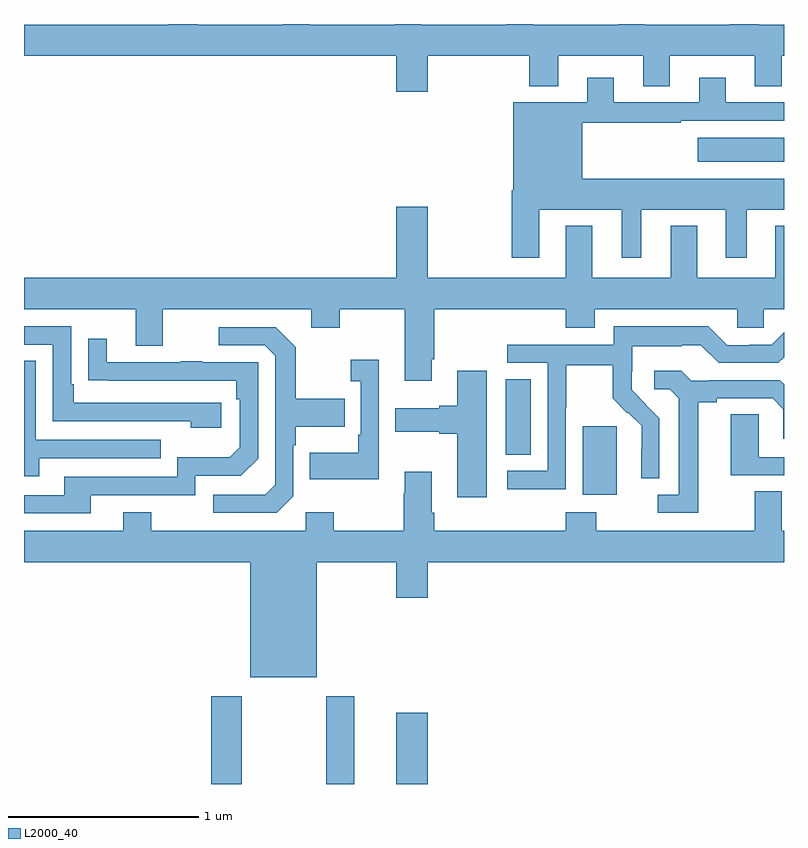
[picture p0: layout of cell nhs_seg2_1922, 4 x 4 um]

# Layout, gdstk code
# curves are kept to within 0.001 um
import gdstk
lib = gdstk.Library(unit=1e-6, precision=1e-09)
def R(c, l, rs):  # rectangles x0, y0, x1, y1
    for r in rs: c.add(gdstk.rectangle(r[:2], r[2:], *l))
def P(c, l, *ps):  # polygons
    for p in ps: c.add(gdstk.Polygon(p, *l))
L2000_40 = (2000, 40)

nhs_seg2_1922 = lib.new_cell('nhs_seg2_1922')
R(nhs_seg2_1922, L2000_40, [(211.985,647.8,212.145,648.262), (212.59,647.8,212.737,648.262), (212.96,647.8,213.124,648.175), (213.941,649.322,214.12,649.683), (213.536,649.534,213.667,649.931), (214.545,651.074,215,651.202)])
P(nhs_seg2_1922, L2000_40, [(213.124,651.632),(213.659,651.632),(213.659,651.473),(213.811,651.473),(213.811,651.632),(214.259,651.632),(214.259,651.472),(214.399,651.472),(214.399,651.632),(214.847,651.632),(214.847,651.472),(214.987,651.472),(214.987,651.632),(215,651.632),(215,651.796),(214.868,651.796),(214.868,651.8),(214.715,651.8),(214.715,651.796),(214.267,651.796),(214.267,651.8),(214.127,651.8),(214.127,651.796),(213.679,651.796),(213.679,651.8),(213.539,651.8),(213.539,651.796),(213.091,651.796),(213.091,651.8),(212.951,651.8),(212.951,651.796),(212.503,651.796),(212.503,651.8),(212.363,651.8),(212.363,651.796),(211.915,651.796),(211.915,651.8),(211.763,651.8),(211.763,651.796),(211,651.796),(211,651.632),(212.96,651.632),(212.96,651.444),(213.124,651.444)],
  [(213.712,650.822),(214.145,650.822),(214.145,650.571),(214.249,650.571),(214.249,650.822),(214.694,650.822),(214.694,650.571),(214.804,650.571),(214.804,650.822),(215,650.822),(215,650.986),(213.937,650.986),(213.937,651.279),(214.457,651.279),(214.457,651.291),(215,651.291),(215,651.387),(214.693,651.387),(214.693,651.517),(214.553,651.517),(214.553,651.387),(214.105,651.387),(214.105,651.517),(213.965,651.517),(213.965,651.388),(213.575,651.388),(213.575,650.926),(213.568,650.926),(213.568,650.571),(213.712,650.571)],
  [(213.145,650.035),(213.158,650.035),(213.158,650.3),(213.851,650.3),(213.851,650.201),(214.003,650.201),(214.003,650.3),(214.755,650.3),(214.755,650.202),(214.893,650.202),(214.893,650.3),(215,650.3),(215,650.737),(214.955,650.737),(214.955,650.464),(214.543,650.464),(214.543,650.737),(214.403,650.737),(214.403,650.464),(213.991,650.464),(213.991,650.737),(213.851,650.737),(213.851,650.464),(213.124,650.464),(213.124,650.839),(212.96,650.839),(212.96,650.464),(211,650.464),(211,650.3),(211.589,650.3),(211.589,650.106),(211.729,650.106),(211.729,650.3),(212.513,650.3),(212.513,650.201),(212.661,650.201),(212.661,650.3),(213.005,650.3),(213.005,649.923),(213.145,649.923)],
  [(213.852,649.78),(213.855,649.78),(213.855,650.004),(214.099,650.004),(214.099,649.829),(214.176,649.752),(214.179,649.755),(214.25,649.685),(214.25,649.562),(214.248,649.562),(214.248,649.408),(214.344,649.408),(214.344,649.726),(214.198,649.874),(214.198,649.971),(214.2,649.971),(214.2,650.105),(214.463,650.105),(214.463,650.109),(214.563,650.109),(214.656,650.016),(214.971,650.016),(215,650.045),(215,650.177),(214.935,650.112),(214.817,650.112),(214.817,650.109),(214.701,650.109),(214.601,650.209),(214.104,650.209),(214.104,650.112),(213.543,650.112),(213.543,650.016),(213.756,650.016),(213.756,649.449),(213.543,649.449),(213.543,649.351),(213.852,649.351)],
  [(212.038,649.806),(211.261,649.806),(211.261,649.903),(211.248,649.903),(211.248,650.208),(211,650.208),(211,650.112),(211.152,650.112),(211.152,649.71),(211.877,649.71),(211.877,649.676),(212.038,649.676)],
  [(212.418,649.314),(212.418,649.583),(212.431,649.583),(212.431,649.679),(212.687,649.679),(212.687,649.827),(212.431,649.827),(212.431,650.099),(212.325,650.205),(212.025,650.205),(212.025,650.109),(212.268,650.109),(212.322,650.055),(212.322,649.374),(212.271,649.323),(211.995,649.323),(211.995,649.227),(212.331,649.227)],
  [(211.351,649.32),(211.902,649.32),(211.902,649.422),(212.142,649.422),(212.232,649.512),(212.232,650.019),(211.937,650.019),(211.937,650.024),(211.825,650.024),(211.825,650.019),(211.435,650.019),(211.435,650.143),(211.339,650.143),(211.339,649.924),(212.116,649.923),(212.116,649.826),(212.136,649.826),(212.136,649.572),(212.083,649.519),(211.806,649.519),(211.806,649.416),(211.211,649.416),(211.211,649.32),(211,649.32),(211,649.224),(211.351,649.224)],
  [(212.868,650.032),(212.721,650.032),(212.721,649.919),(212.772,649.919),(212.772,649.639),(212.76,649.639),(212.76,649.543),(212.503,649.543),(212.503,649.403),(212.868,649.403)],
  [(211.081,649.515),(211.721,649.515),(211.721,649.611),(211.062,649.611),(211.062,650.027),(211,650.027),(211,649.421),(211.081,649.421)],
  [(213.436,649.975),(213.281,649.975),(213.281,649.79),(213.185,649.79),(213.185,649.777),(212.955,649.777),(212.955,649.655),(213.185,649.655),(213.185,649.643),(213.281,649.643),(213.281,649.308),(213.436,649.308)],
  [(214.549,649.808),(214.645,649.808),(214.645,649.83),(214.94,649.83),(214.997,649.773),(214.997,649.617),(215,649.617),(215,649.904),(214.978,649.926),(214.606,649.926),(214.606,649.923),(214.512,649.923),(214.46,649.975),(214.317,649.975),(214.317,649.878),(214.398,649.878),(214.445,649.831),(214.445,649.323),(214.335,649.323),(214.335,649.227),(214.549,649.227)],
  [(215,649.521),(214.866,649.521),(214.866,649.745),(214.721,649.745),(214.721,649.425),(215,649.425)],
  [(212.542,648.968),(212.96,648.968),(212.96,648.78),(213.124,648.78),(213.124,648.968),(215,648.968),(215,649.132),(214.987,649.132),(214.987,649.34),(214.847,649.34),(214.847,649.132),(214.011,649.132),(214.011,649.231),(213.851,649.231),(213.851,649.132),(213.158,649.132),(213.158,649.228),(213.145,649.228),(213.145,649.444),(213.005,649.444),(213.005,649.331),(212.998,649.331),(212.998,649.132),(212.631,649.132),(212.631,649.231),(212.484,649.231),(212.484,649.132),(211.671,649.132),(211.671,649.231),(211.523,649.231),(211.523,649.132),(211,649.132),(211,648.968),(212.192,648.968),(212.192,648.362),(212.542,648.362)])

lib.write_gds('nhs_seg2_1922.gds')
